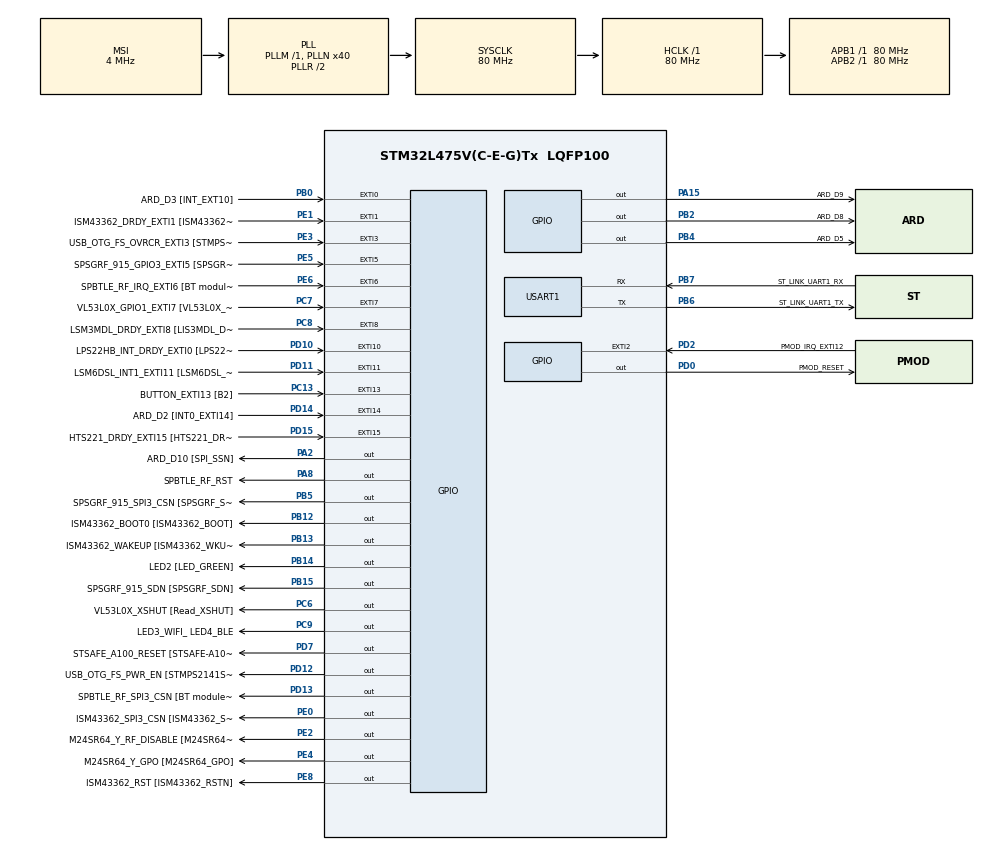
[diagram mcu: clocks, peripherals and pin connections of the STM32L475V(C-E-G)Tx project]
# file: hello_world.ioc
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Mcu.Family=STM32L4
Mcu.Name=STM32L475V(C-E-G)Tx
Mcu.Package=LQFP100
NVIC.EXTI15_10_IRQn=true\:0\:0\:false\:false\:true\:true\:true
NVIC.EXTI9_5_IRQn=true\:0\:0\:false\:false\:true\:true\:true
NVIC.PriorityGroup=NVIC_PRIORITYGROUP_4
PA0.GPIO_Label=ARD_D1 [UART4_TX]
PA0.Signal=UART4_TX
PA1.GPIO_Label=ARD_D0 [UART4_RX]
PA1.Signal=UART4_RX
PA10.GPIO_Label=USB_OTG_FS_ID
PA10.Signal=USB_OTG_FS_ID
PA11.GPIO_Label=USB_OTG_FS_DM
PA11.Signal=USB_OTG_FS_DM
PA12.GPIO_Label=USB_OTG_FS_DP
PA12.Signal=USB_OTG_FS_DP
PA13\ (JTMS-SWDIO).GPIO_Label=SYS_JTMS_SWDIO
PA13\ (JTMS-SWDIO).Signal=SYS_JTMS-SWDIO
PA14\ (JTCK-SWCLK).GPIO_Label=SYS_JTCK_SWCLK
PA14\ (JTCK-SWCLK).Signal=SYS_JTCK-SWCLK
PA15\ (JTDI).GPIO_Label=ARD_D9
PA15\ (JTDI).Signal=GPIO_Output
PA2.GPIO_Label=ARD_D10 [SPI_SSN]
PA2.Signal=GPIO_Output
PA3.GPIO_Label=ARD_D4
PA3.Signal=S_TIM2_CH4
PA4.GPIO_Label=ARD_D7
PA4.Signal=ADCx_IN9
PA5.GPIO_Label=ARD_D13 [SPI1_SCK]
PA5.Signal=SPI1_SCK
PA6.GPIO_Label=ARD_D12 [SPI1_MISO]
PA6.Signal=SPI1_MISO
PA7.GPIO_Label=ARD_D11 [SPI1_MOSI]
PA7.Signal=SPI1_MOSI
PA8.GPIO_Label=SPBTLE_RF_RST
PA8.Signal=GPIO_Output
PA9.GPIO_Label=USB_OTG_FS_VBUS [STMPS2141STR_OUT]
PA9.Signal=USB_OTG_FS_VBUS
PB0.GPIO_Label=ARD_D3 [INT_EXT10]
PB0.Signal=GPXTI0
PB1.GPIO_Label=ARD_D6 [ADC1_IN6]
PB1.Signal=ADCx_IN16
PB10.GPIO_Label=INTERNAL_I2C2_SCL [VL53L0X_SCL]
PB10.Signal=I2C2_SCL
PB11.GPIO_Label=INTERNAL_I2C2_SDA [VL53L0X_SDA]
PB11.Signal=I2C2_SDA
PB12.GPIO_Label=ISM43362_BOOT0 [ISM43362_BOOT]
PB12.Signal=GPIO_Output
PB13.GPIO_Label=ISM43362_WAKEUP [ISM43362_WKUP]
PB13.Signal=GPIO_Output
PB14.GPIO_Label=LED2 [LED_GREEN]
PB14.Signal=GPIO_Output
PB15.GPIO_Label=SPSGRF_915_SDN [SPSGRF_SDN]
PB15.Signal=GPIO_Output
PB2.GPIO_Label=ARD_D8
PB2.Signal=GPIO_Output
PB3\ (JTDO-TRACESWO).GPIO_Label=SYS_JTD0_SWO
PB3\ (JTDO-TRACESWO).Signal=SYS_JTDO-SWO
PB4\ (NJTRST).GPIO_Label=ARD_D5
PB4\ (NJTRST).Signal=GPIO_Output
PB5.GPIO_Label=SPSGRF_915_SPI3_CSN [SPSGRF_SPI_CS]
PB5.PinState=GPIO_PIN_SET
PB5.Signal=GPIO_Output
PB6.GPIO_Label=ST_LINK_UART1_TX
PB6.Mode=Asynchronous
PB6.Signal=USART1_TX
PB7.GPIO_Label=ST_LINK_UART1_RX
PB7.Mode=Asynchronous
PB7.Signal=USART1_RX
PB8.GPIO_Label=ARD_D15 [I2C1_SCL]
PB8.Signal=I2C1_SCL
PB9.GPIO_Label=ARD_D14 [I2C1_SDA]
PB9.Signal=I2C1_SDA
PC0.GPIO_Label=ARD_A5 [ADC]
PC0.Signal=ADCx_IN1
PC1.GPIO_Label=ARD_A4 [ADC]
PC1.Signal=ADCx_IN2
PC10.GPIO_Label=INTERNAL_SPI3_SCK [BT module_SPI_SCLK]
PC10.Signal=SPI3_SCK
PC11.GPIO_Label=INTERNAL_SPI3_MISO [BT module_SPI_MISO]
PC11.Signal=SPI3_MISO
PC12.GPIO_Label=INTERNAL_SPI3_MOSI [BT module_SPI_MOSI]
PC12.Signal=SPI3_MOSI
PC13.GPIO_Label=BUTTON_EXTI13 [B2]
PC13.GPIO_ModeDefaultEXTI=GPIO_MODE_IT_FALLING
PC13.Signal=GPXTI13
PC14-OSC32_IN\ (PC14).Signal=RCC_OSC32_IN
PC15-OSC32_OUT\ (PC15).Signal=RCC_OSC32_OUT
PC2.GPIO_Label=ARD_A3 [ADC]
PC2.Signal=ADCx_IN3
PC3.GPIO_Label=ARD_A2 [ADC]
PC3.Signal=ADCx_IN4
PC4.GPIO_Label=ARD_A1 [ADC]
PC4.Signal=ADCx_IN13
PC5.GPIO_Label=ARD_A0 [ADC]
PC5.Signal=ADCx_IN14
PC6.GPIO_Label=VL53L0X_XSHUT [Read_XSHUT]
PC6.Signal=GPIO_Output
PC7.GPIO_Label=VL53L0X_GPIO1_EXTI7 [VL53L0X_GPIO1]
PC7.Signal=GPXTI7
PC8.GPIO_Label=LSM3MDL_DRDY_EXTI8 [LIS3MDL_DRDY]
PC8.Signal=GPXTI8
PC9.GPIO_Label=LED3_WIFI_ LED4_BLE
PC9.Signal=GPIO_Output
PD0.GPIO_Label=PMOD_RESET
PD0.Signal=GPIO_Output
PD1.GPIO_Label=PMOD_SPI2_SCK
PD1.Signal=SPI2_SCK
PD10.GPIO_Label=LPS22HB_INT_DRDY_EXTI0 [LPS22HB_INT_DRDY] 
PD10.Signal=GPXTI10
PD11.GPIO_Label=LSM6DSL_INT1_EXTI11 [LSM6DSL_INT1]
PD11.Signal=GPXTI11
PD12.GPIO_Label=USB_OTG_FS_PWR_EN [STMPS2141STR_EN]
PD12.Signal=GPIO_Output
PD13.GPIO_Label=SPBTLE_RF_SPI3_CSN [BT module_SPI_CS]
PD13.PinState=GPIO_PIN_SET
PD13.Signal=GPIO_Output
PD14.GPIO_Label=ARD_D2 [INT0_EXTI14]
PD14.Signal=GPXTI14
PD15.GPIO_Label=HTS221_DRDY_EXTI15 [HTS221_DRDY]
PD15.Signal=GPXTI15
PD2.GPIO_Label=PMOD_IRQ_EXTI12
PD2.Signal=GPXTI2
PD3.GPIO_Label=PMOD_UART2_CTS
PD3.Signal=USART2_CTS
PD4.GPIO_Label=PMOD_UART2_RTS
PD4.Signal=USART2_RTS
PD5.GPIO_Label=PMOD_UART2_TX
PD5.Signal=USART2_TX
PD6.GPIO_Label=PMOD_UART2_RX
PD6.Signal=USART2_RX
PD7.GPIO_Label=STSAFE_A100_RESET [STSAFE-A100_RESET]
PD7.Signal=GPIO_Output
PD8.GPIO_Label=INTERNAL_UART3_TX [ISM43362_RX]
PD8.Signal=USART3_TX
PD9.GPIO_Label=INTERNAL_UART3_RX [ISM43362_TX]
PD9.Signal=USART3_RX
PE0.GPIO_Label=ISM43362_SPI3_CSN [ISM43362_SSN]
PE0.PinState=GPIO_PIN_SET
PE0.Signal=GPIO_Output
PE1.GPIO_Label=ISM43362_DRDY_EXTI1 [ISM43362_DATARDY]
PE1.Signal=GPXTI1
PE10.GPIO_Label=QUADSPI_CLK [MX25R6435F_SCLK]
PE10.Signal=QUADSPI_CLK
PE11.GPIO_Label=QUADSPI_NCS [MX25R6435F_SCLK]
PE11.Signal=QUADSPI_NCS
PE12.GPIO_Label=OQUADSPI_BK1_IO0 [MX25R6435F_IO0]
PE12.Signal=QUADSPI_BK1_IO0
PE13.GPIO_Label=QUADSPI_BK1_IO1 [MX25R6435F_IO1]
PE13.Signal=QUADSPI_BK1_IO1
PE14.GPIO_Label=QUAD_SPI_BK1_IO2 [MX25R6435F_IO2]
PE14.Signal=QUADSPI_BK1_IO2
PE15.GPIO_Label=QUAD_SPI_BK1_IO3 [MX25R6435F_IO3]
PE15.Signal=QUADSPI_BK1_IO3
PE2.GPIO_Label=M24SR64_Y_RF_DISABLE [M24SR64_RFDIS]
PE2.Signal=GPIO_Output
PE3.GPIO_Label=USB_OTG_FS_OVRCR_EXTI3 [STMPS2141STR_FAULT]
PE3.Signal=GPXTI3
PE4.GPIO_Label=M24SR64_Y_GPO [M24SR64_GPO]
PE4.Signal=GPIO_Output
PE5.GPIO_Label=SPSGRF_915_GPIO3_EXTI5 [SPSGRF_GPIO_3]
PE5.Signal=GPXTI5
PE6.GPIO_Label=SPBTLE_RF_IRQ_EXTI6 [BT module_SPI_IRQ]
PE6.Signal=GPXTI6
PE7.GPIO_Label=DFSDM1_DATIN2 [MP34DT01_DOUT]
PE7.Signal=S_DATAIN2DFSDM1
PE8.GPIO_Label=ISM43362_RST [ISM43362_RSTN]
PE8.Signal=GPIO_Output
PE9.GPIO_Label=DFSDM1_CKOUT [MP34DT01_CLK]
PE9.Signal=S_CKOUTDFSDM1
ProjectManager.HeapSize=0x200
ProjectManager.StackSize=0x400
ProjectManager.TargetToolchain=MDK-ARM V5
RCC.ADCFreq_Value=48000000
RCC.AHBFreq_Value=80000000
RCC.APB1Freq_Value=80000000
RCC.APB1TimFreq_Value=80000000
RCC.APB2Freq_Value=80000000
RCC.APB2TimFreq_Value=80000000
RCC.CortexFreq_Value=80000000
RCC.HCLKFreq_Value=80000000
RCC.HSE_VALUE=8000000
RCC.HSI_VALUE=16000000
RCC.LSE_VALUE=32768
RCC.MSI_VALUE=4000000
RCC.PLLN=40
RCC.PLLSAI1N=24
RCC.SYSCLKFreq_VALUE=80000000
RCC.SYSCLKSource=RCC_SYSCLKSOURCE_PLLCLK
RCC.USBFreq_Value=48000000
RCC.VCOOutputFreq_Value=160000000
SH.ADCx_IN1.0=ADC1_IN1
SH.ADCx_IN13.0=ADC1_IN13
SH.ADCx_IN14.0=ADC1_IN14
SH.ADCx_IN16.0=ADC1_IN16
SH.ADCx_IN2.0=ADC1_IN2
SH.ADCx_IN3.0=ADC1_IN3
SH.ADCx_IN4.0=ADC1_IN4
SH.ADCx_IN9.0=ADC1_IN9
SH.S_CKOUTDFSDM1.0=DFSDM1_CKOUT
SH.S_DATAIN2DFSDM1.0=DFSDM1_DATIN2
SH.S_TIM2_CH4.0=TIM2_CH4
USART1.VirtualMode-Asynchronous=VM_ASYNC
board=B-L475E-IOT01A

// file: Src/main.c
/* USER CODE BEGIN Header */
/**
  ******************************************************************************
  * @file           : main.c
  * @brief          : Main program body
  ******************************************************************************
  * @attention
  *
  * <h2><center>&copy; Copyright (c) 2019 STMicroelectronics.
  * All rights reserved.</center></h2>
  *
  * This software component is licensed by ST under BSD 3-Clause license,
  * the "License"; You may not use this file except in compliance with the
  * License. You may obtain a copy of the License at:
  *                        opensource.org/licenses/BSD-3-Clause
  *
  ******************************************************************************
  */
/* USER CODE END Header */

#include "main.h"

/* USER CODE BEGIN Includes */

#include <stdio.h>
#include <stdlib.h>
#include "fann.h"
#include "fann_conf.h"
#include "test_data.h"

/* USER CODE END Includes */

UART_HandleTypeDef huart1;

void SystemClock_Config(void);
static void MX_GPIO_Init(void);
static void MX_USART1_UART_Init(void);

/* USER CODE BEGIN 0 */
/* Buffer used for transmission */
#define RXBUFFERSIZE 300
#define TXBUFFERSIZE 300
char aTxBuffer[TXBUFFERSIZE];
/* Buffer used for reception */
uint8_t aRxBuffer[RXBUFFERSIZE];

/* USER CODE END 0 */

int main(void)
{
  /* USER CODE BEGIN 1 */

//	printf("Hello World\n");

  /* USER CODE END 1 */

  /* MCU Configuration--------------------------------------------------------*/

  /* Reset of all peripherals, Initializes the Flash interface and the Systick. */
  HAL_Init();

  /* Configure the system clock */
  SystemClock_Config();

  /* Initialize all configured peripherals */
  MX_GPIO_Init();
  MX_USART1_UART_Init();

  /* Infinite loop */
  /* USER CODE BEGIN WHILE */
  while (1) {
    fann_type *calc_out;

    int corr = 0, i;
    for(i = 0; i < NUM_TESTS; ++i) {
				//enable cycle counter
				volatile uint32_t *DWT_CONTROL = (uint32_t *) 0xE0001000;
				volatile uint32_t *DWT_CYCCNT = (uint32_t *) 0xE0001004;
				volatile uint32_t *DEMCR = (uint32_t *) 0xE000EDFC;
				volatile uint32_t *LAR  = (uint32_t *) 0xE0001FB0;   // <-- added lock access register
				*DEMCR = *DEMCR | 0x01000000;     // enable trace
				*LAR = 0xC5ACCE55;                // <-- added unlock access to DWT (ITM, etc.)registers
				*DWT_CYCCNT = 0;                  // clear DWT cycle counter
				*DWT_CONTROL = *DWT_CONTROL | 1;  // enable DWT cycle counter

				//run NN
        calc_out = fann_run(test_data_input + NUM_INPUT * i);

				// read cycle counter & print
				uint32_t cycles = *DWT_CYCCNT;
				snprintf(aTxBuffer, TXBUFFERSIZE, "cycles for classification: %d\r\n", cycles);
				if(HAL_UART_Transmit(&huart1, (uint8_t *)aTxBuffer, TXBUFFERSIZE, 5000)!= HAL_OK) { Error_Handler(); }

/*
#ifdef FIXEDFANN
				snprintf(aTxBuffer, TXBUFFERSIZE, "out class 0: %d, out class 1: %d\r\n", calc_out[0], calc_out[1]);
#else
				snprintf(aTxBuffer, TXBUFFERSIZE, "out class 0: %f, out class 1: %f\r\n", calc_out[0], calc_out[1]);
#endif
				if(HAL_UART_Transmit(&huart1, (uint8_t *)aTxBuffer, TXBUFFERSIZE, 5000)!= HAL_OK) { Error_Handler(); }
*/

        int cla = 0;
        if (calc_out[0] >= calc_out[1]) {
            cla = 0;
        } else {
            cla = 1;
        }

        if (cla == test_data_output[i]) {
            ++corr;
        }
/*
				snprintf(aTxBuffer, TXBUFFERSIZE, "class out: %d, class exp: %d\r\n",
								 cla, test_data_output[i]);
				if(HAL_UART_Transmit(&huart1, (uint8_t *)aTxBuffer, TXBUFFERSIZE, 5000)!= HAL_OK) { Error_Handler(); }
*/
    }

		snprintf(aTxBuffer, TXBUFFERSIZE, "correct %d out of %d\r\n", corr, NUM_TESTS);
		if(HAL_UART_Transmit(&huart1, (uint8_t *)aTxBuffer, TXBUFFERSIZE, 5000)!= HAL_OK) { Error_Handler(); }

		HAL_Delay(1000);
    /* USER CODE END WHILE */

  }
}

void SystemClock_Config(void)
{
  RCC_OscInitTypeDef RCC_OscInitStruct = {0};
  RCC_ClkInitTypeDef RCC_ClkInitStruct = {0};
  RCC_PeriphCLKInitTypeDef PeriphClkInit = {0};

  /** Initializes the CPU, AHB and APB busses clocks
  */
  RCC_OscInitStruct.OscillatorType = RCC_OSCILLATORTYPE_MSI;
  RCC_OscInitStruct.MSIState = RCC_MSI_ON;
  RCC_OscInitStruct.MSICalibrationValue = 0;
  RCC_OscInitStruct.MSIClockRange = RCC_MSIRANGE_6;
  RCC_OscInitStruct.PLL.PLLState = RCC_PLL_ON;
  RCC_OscInitStruct.PLL.PLLSource = RCC_PLLSOURCE_MSI;
  RCC_OscInitStruct.PLL.PLLM = 1;
  RCC_OscInitStruct.PLL.PLLN = 40;
  RCC_OscInitStruct.PLL.PLLP = RCC_PLLP_DIV7;
  RCC_OscInitStruct.PLL.PLLQ = RCC_PLLQ_DIV2;
  RCC_OscInitStruct.PLL.PLLR = RCC_PLLR_DIV2;
  if (HAL_RCC_OscConfig(&RCC_OscInitStruct) != HAL_OK)
  {
    Error_Handler();
  }
  /** Initializes the CPU, AHB and APB busses clocks
  */
  RCC_ClkInitStruct.ClockType = RCC_CLOCKTYPE_HCLK|RCC_CLOCKTYPE_SYSCLK
                              |RCC_CLOCKTYPE_PCLK1|RCC_CLOCKTYPE_PCLK2;
  RCC_ClkInitStruct.SYSCLKSource = RCC_SYSCLKSOURCE_PLLCLK;
  RCC_ClkInitStruct.AHBCLKDivider = RCC_SYSCLK_DIV1;
  RCC_ClkInitStruct.APB1CLKDivider = RCC_HCLK_DIV1;
  RCC_ClkInitStruct.APB2CLKDivider = RCC_HCLK_DIV1;

  if (HAL_RCC_ClockConfig(&RCC_ClkInitStruct, FLASH_LATENCY_4) != HAL_OK)
  {
    Error_Handler();
  }
  PeriphClkInit.PeriphClockSelection = RCC_PERIPHCLK_USART1;
  PeriphClkInit.Usart1ClockSelection = RCC_USART1CLKSOURCE_PCLK2;
  if (HAL_RCCEx_PeriphCLKConfig(&PeriphClkInit) != HAL_OK)
  {
    Error_Handler();
  }
  /** Configure the main internal regulator output voltage
  */
  if (HAL_PWREx_ControlVoltageScaling(PWR_REGULATOR_VOLTAGE_SCALE1) != HAL_OK)
  {
    Error_Handler();
  }
}

static void MX_USART1_UART_Init(void)
{

  huart1.Instance = USART1;
  huart1.Init.BaudRate = 115200;
  huart1.Init.WordLength = UART_WORDLENGTH_8B;
  huart1.Init.StopBits = UART_STOPBITS_1;
  huart1.Init.Parity = UART_PARITY_NONE;
  huart1.Init.Mode = UART_MODE_TX_RX;
  huart1.Init.HwFlowCtl = UART_HWCONTROL_NONE;
  huart1.Init.OverSampling = UART_OVERSAMPLING_16;
  huart1.Init.OneBitSampling = UART_ONE_BIT_SAMPLE_DISABLE;
  huart1.AdvancedInit.AdvFeatureInit = UART_ADVFEATURE_NO_INIT;
  if (HAL_UART_Init(&huart1) != HAL_OK)
  {
    Error_Handler();
  }

}

static void MX_GPIO_Init(void)
{
  GPIO_InitTypeDef GPIO_InitStruct = {0};

  /* GPIO Ports Clock Enable */
  __HAL_RCC_GPIOE_CLK_ENABLE();
  __HAL_RCC_GPIOC_CLK_ENABLE();
  __HAL_RCC_GPIOA_CLK_ENABLE();
  __HAL_RCC_GPIOB_CLK_ENABLE();
  __HAL_RCC_GPIOD_CLK_ENABLE();

  /*Configure GPIO pin Output Level */
  HAL_GPIO_WritePin(GPIOE, M24SR64_Y_RF_DISABLE_Pin|M24SR64_Y_GPO_Pin|ISM43362_RST_Pin, GPIO_PIN_RESET);

  /*Configure GPIO pin Output Level */
  HAL_GPIO_WritePin(GPIOA, ARD_D10_Pin|SPBTLE_RF_RST_Pin|ARD_D9_Pin, GPIO_PIN_RESET);

  /*Configure GPIO pin Output Level */
  HAL_GPIO_WritePin(GPIOB, ARD_D8_Pin|ISM43362_BOOT0_Pin|ISM43362_WAKEUP_Pin|LED2_Pin
                          |SPSGRF_915_SDN_Pin|ARD_D5_Pin, GPIO_PIN_RESET);

  /*Configure GPIO pin Output Level */
  HAL_GPIO_WritePin(GPIOD, USB_OTG_FS_PWR_EN_Pin|PMOD_RESET_Pin|STSAFE_A100_RESET_Pin, GPIO_PIN_RESET);

  /*Configure GPIO pin Output Level */
  HAL_GPIO_WritePin(SPBTLE_RF_SPI3_CSN_GPIO_Port, SPBTLE_RF_SPI3_CSN_Pin, GPIO_PIN_SET);

  /*Configure GPIO pin Output Level */
  HAL_GPIO_WritePin(GPIOC, VL53L0X_XSHUT_Pin|LED3_WIFI__LED4_BLE_Pin, GPIO_PIN_RESET);

  /*Configure GPIO pin Output Level */
  HAL_GPIO_WritePin(SPSGRF_915_SPI3_CSN_GPIO_Port, SPSGRF_915_SPI3_CSN_Pin, GPIO_PIN_SET);

  /*Configure GPIO pin Output Level */
  HAL_GPIO_WritePin(ISM43362_SPI3_CSN_GPIO_Port, ISM43362_SPI3_CSN_Pin, GPIO_PIN_SET);

  /*Configure GPIO pins : M24SR64_Y_RF_DISABLE_Pin M24SR64_Y_GPO_Pin ISM43362_RST_Pin ISM43362_SPI3_CSN_Pin */
  GPIO_InitStruct.Pin = M24SR64_Y_RF_DISABLE_Pin|M24SR64_Y_GPO_Pin|ISM43362_RST_Pin|ISM43362_SPI3_CSN_Pin;
  GPIO_InitStruct.Mode = GPIO_MODE_OUTPUT_PP;
  GPIO_InitStruct.Pull = GPIO_NOPULL;
  GPIO_InitStruct.Speed = GPIO_SPEED_FREQ_LOW;
  HAL_GPIO_Init(GPIOE, &GPIO_InitStruct);

  /*Configure GPIO pins : USB_OTG_FS_OVRCR_EXTI3_Pin SPSGRF_915_GPIO3_EXTI5_Pin SPBTLE_RF_IRQ_EXTI6_Pin ISM43362_DRDY_EXTI1_Pin */
  GPIO_InitStruct.Pin = USB_OTG_FS_OVRCR_EXTI3_Pin|SPSGRF_915_GPIO3_EXTI5_Pin|SPBTLE_RF_IRQ_EXTI6_Pin|ISM43362_DRDY_EXTI1_Pin;
  GPIO_InitStruct.Mode = GPIO_MODE_IT_RISING;
  GPIO_InitStruct.Pull = GPIO_NOPULL;
  HAL_GPIO_Init(GPIOE, &GPIO_InitStruct);

  /*Configure GPIO pin : BUTTON_EXTI13_Pin */
  GPIO_InitStruct.Pin = BUTTON_EXTI13_Pin;
  GPIO_InitStruct.Mode = GPIO_MODE_IT_FALLING;
  GPIO_InitStruct.Pull = GPIO_NOPULL;
  HAL_GPIO_Init(BUTTON_EXTI13_GPIO_Port, &GPIO_InitStruct);

  /*Configure GPIO pins : ARD_A5_Pin ARD_A4_Pin ARD_A3_Pin ARD_A2_Pin
                           ARD_A1_Pin ARD_A0_Pin */
  GPIO_InitStruct.Pin = ARD_A5_Pin|ARD_A4_Pin|ARD_A3_Pin|ARD_A2_Pin
                          |ARD_A1_Pin|ARD_A0_Pin;
  GPIO_InitStruct.Mode = GPIO_MODE_ANALOG_ADC_CONTROL;
  GPIO_InitStruct.Pull = GPIO_NOPULL;
  HAL_GPIO_Init(GPIOC, &GPIO_InitStruct);

  /*Configure GPIO pins : ARD_D1_Pin ARD_D0_Pin */
  GPIO_InitStruct.Pin = ARD_D1_Pin|ARD_D0_Pin;
  GPIO_InitStruct.Mode = GPIO_MODE_AF_PP;
  GPIO_InitStruct.Pull = GPIO_NOPULL;
  GPIO_InitStruct.Speed = GPIO_SPEED_FREQ_VERY_HIGH;
  GPIO_InitStruct.Alternate = GPIO_AF8_UART4;
  HAL_GPIO_Init(GPIOA, &GPIO_InitStruct);

  /*Configure GPIO pins : ARD_D10_Pin SPBTLE_RF_RST_Pin ARD_D9_Pin */
  GPIO_InitStruct.Pin = ARD_D10_Pin|SPBTLE_RF_RST_Pin|ARD_D9_Pin;
  GPIO_InitStruct.Mode = GPIO_MODE_OUTPUT_PP;
  GPIO_InitStruct.Pull = GPIO_NOPULL;
  GPIO_InitStruct.Speed = GPIO_SPEED_FREQ_LOW;
  HAL_GPIO_Init(GPIOA, &GPIO_InitStruct);

  /*Configure GPIO pin : ARD_D4_Pin */
  GPIO_InitStruct.Pin = ARD_D4_Pin;
  GPIO_InitStruct.Mode = GPIO_MODE_AF_PP;
  GPIO_InitStruct.Pull = GPIO_NOPULL;
  GPIO_InitStruct.Speed = GPIO_SPEED_FREQ_LOW;
  GPIO_InitStruct.Alternate = GPIO_AF1_TIM2;
  HAL_GPIO_Init(ARD_D4_GPIO_Port, &GPIO_InitStruct);

  /*Configure GPIO pin : ARD_D7_Pin */
  GPIO_InitStruct.Pin = ARD_D7_Pin;
  GPIO_InitStruct.Mode = GPIO_MODE_ANALOG_ADC_CONTROL;
  GPIO_InitStruct.Pull = GPIO_NOPULL;
  HAL_GPIO_Init(ARD_D7_GPIO_Port, &GPIO_InitStruct);

  /*Configure GPIO pins : ARD_D13_Pin ARD_D12_Pin ARD_D11_Pin */
  GPIO_InitStruct.Pin = ARD_D13_Pin|ARD_D12_Pin|ARD_D11_Pin;
  GPIO_InitStruct.Mode = GPIO_MODE_AF_PP;
  GPIO_InitStruct.Pull = GPIO_NOPULL;
  GPIO_InitStruct.Speed = GPIO_SPEED_FREQ_VERY_HIGH;
  GPIO_InitStruct.Alternate = GPIO_AF5_SPI1;
  HAL_GPIO_Init(GPIOA, &GPIO_InitStruct);

  /*Configure GPIO pin : ARD_D3_Pin */
  GPIO_InitStruct.Pin = ARD_D3_Pin;
  GPIO_InitStruct.Mode = GPIO_MODE_IT_RISING;
  GPIO_InitStruct.Pull = GPIO_NOPULL;
  HAL_GPIO_Init(ARD_D3_GPIO_Port, &GPIO_InitStruct);

  /*Configure GPIO pin : ARD_D6_Pin */
  GPIO_InitStruct.Pin = ARD_D6_Pin;
  GPIO_InitStruct.Mode = GPIO_MODE_ANALOG_ADC_CONTROL;
  GPIO_InitStruct.Pull = GPIO_NOPULL;
  HAL_GPIO_Init(ARD_D6_GPIO_Port, &GPIO_InitStruct);

  /*Configure GPIO pins : ARD_D8_Pin ISM43362_BOOT0_Pin ISM43362_WAKEUP_Pin LED2_Pin
                           SPSGRF_915_SDN_Pin ARD_D5_Pin SPSGRF_915_SPI3_CSN_Pin */
  GPIO_InitStruct.Pin = ARD_D8_Pin|ISM43362_BOOT0_Pin|ISM43362_WAKEUP_Pin|LED2_Pin
                          |SPSGRF_915_SDN_Pin|ARD_D5_Pin|SPSGRF_915_SPI3_CSN_Pin;
  GPIO_InitStruct.Mode = GPIO_MODE_OUTPUT_PP;
  GPIO_InitStruct.Pull = GPIO_NOPULL;
  GPIO_InitStruct.Speed = GPIO_SPEED_FREQ_LOW;
  HAL_GPIO_Init(GPIOB, &GPIO_InitStruct);

  /*Configure GPIO pins : DFSDM1_DATIN2_Pin DFSDM1_CKOUT_Pin */
  GPIO_InitStruct.Pin = DFSDM1_DATIN2_Pin|DFSDM1_CKOUT_Pin;
  GPIO_InitStruct.Mode = GPIO_MODE_AF_PP;
  GPIO_InitStruct.Pull = GPIO_NOPULL;
  GPIO_InitStruct.Speed = GPIO_SPEED_FREQ_LOW;
  GPIO_InitStruct.Alternate = GPIO_AF6_DFSDM1;
  HAL_GPIO_Init(GPIOE, &GPIO_InitStruct);

  /*Configure GPIO pins : QUADSPI_CLK_Pin QUADSPI_NCS_Pin OQUADSPI_BK1_IO0_Pin QUADSPI_BK1_IO1_Pin
                           QUAD_SPI_BK1_IO2_Pin QUAD_SPI_BK1_IO3_Pin */
  GPIO_InitStruct.Pin = QUADSPI_CLK_Pin|QUADSPI_NCS_Pin|OQUADSPI_BK1_IO0_Pin|QUADSPI_BK1_IO1_Pin
                          |QUAD_SPI_BK1_IO2_Pin|QUAD_SPI_BK1_IO3_Pin;
  GPIO_InitStruct.Mode = GPIO_MODE_AF_PP;
  GPIO_InitStruct.Pull = GPIO_NOPULL;
  GPIO_InitStruct.Speed = GPIO_SPEED_FREQ_VERY_HIGH;
  GPIO_InitStruct.Alternate = GPIO_AF10_QUADSPI;
  HAL_GPIO_Init(GPIOE, &GPIO_InitStruct);

  /*Configure GPIO pins : INTERNAL_I2C2_SCL_Pin INTERNAL_I2C2_SDA_Pin */
  GPIO_InitStruct.Pin = INTERNAL_I2C2_SCL_Pin|INTERNAL_I2C2_SDA_Pin;
  GPIO_InitStruct.Mode = GPIO_MODE_AF_OD;
  GPIO_InitStruct.Pull = GPIO_PULLUP;
  GPIO_InitStruct.Speed = GPIO_SPEED_FREQ_VERY_HIGH;
  GPIO_InitStruct.Alternate = GPIO_AF4_I2C2;
  HAL_GPIO_Init(GPIOB, &GPIO_InitStruct);

  /*Configure GPIO pins : INTERNAL_UART3_TX_Pin INTERNAL_UART3_RX_Pin */
  GPIO_InitStruct.Pin = INTERNAL_UART3_TX_Pin|INTERNAL_UART3_RX_Pin;
  GPIO_InitStruct.Mode = GPIO_MODE_AF_PP;
  GPIO_InitStruct.Pull = GPIO_NOPULL;
  GPIO_InitStruct.Speed = GPIO_SPEED_FREQ_VERY_HIGH;
  GPIO_InitStruct.Alternate = GPIO_AF7_USART3;
  HAL_GPIO_Init(GPIOD, &GPIO_InitStruct);

  /*Configure GPIO pins : LPS22HB_INT_DRDY_EXTI0_Pin LSM6DSL_INT1_EXTI11_Pin ARD_D2_Pin HTS221_DRDY_EXTI15_Pin
                           PMOD_IRQ_EXTI12_Pin */
  GPIO_InitStruct.Pin = LPS22HB_INT_DRDY_EXTI0_Pin|LSM6DSL_INT1_EXTI11_Pin|ARD_D2_Pin|HTS221_DRDY_EXTI15_Pin
                          |PMOD_IRQ_EXTI12_Pin;
  GPIO_InitStruct.Mode = GPIO_MODE_IT_RISING;
  GPIO_InitStruct.Pull = GPIO_NOPULL;
  HAL_GPIO_Init(GPIOD, &GPIO_InitStruct);

  /*Configure GPIO pins : USB_OTG_FS_PWR_EN_Pin SPBTLE_RF_SPI3_CSN_Pin PMOD_RESET_Pin STSAFE_A100_RESET_Pin */
  GPIO_InitStruct.Pin = USB_OTG_FS_PWR_EN_Pin|SPBTLE_RF_SPI3_CSN_Pin|PMOD_RESET_Pin|STSAFE_A100_RESET_Pin;
  GPIO_InitStruct.Mode = GPIO_MODE_OUTPUT_PP;
  GPIO_InitStruct.Pull = GPIO_NOPULL;
  GPIO_InitStruct.Speed = GPIO_SPEED_FREQ_LOW;
  HAL_GPIO_Init(GPIOD, &GPIO_InitStruct);

  /*Configure GPIO pins : VL53L0X_XSHUT_Pin LED3_WIFI__LED4_BLE_Pin */
  GPIO_InitStruct.Pin = VL53L0X_XSHUT_Pin|LED3_WIFI__LED4_BLE_Pin;
  GPIO_InitStruct.Mode = GPIO_MODE_OUTPUT_PP;
  GPIO_InitStruct.Pull = GPIO_NOPULL;
  GPIO_InitStruct.Speed = GPIO_SPEED_FREQ_LOW;
  HAL_GPIO_Init(GPIOC, &GPIO_InitStruct);

  /*Configure GPIO pins : VL53L0X_GPIO1_EXTI7_Pin LSM3MDL_DRDY_EXTI8_Pin */
  GPIO_InitStruct.Pin = VL53L0X_GPIO1_EXTI7_Pin|LSM3MDL_DRDY_EXTI8_Pin;
  GPIO_InitStruct.Mode = GPIO_MODE_IT_RISING;
  GPIO_InitStruct.Pull = GPIO_NOPULL;
  HAL_GPIO_Init(GPIOC, &GPIO_InitStruct);

  /*Configure GPIO pin : USB_OTG_FS_VBUS_Pin */
  GPIO_InitStruct.Pin = USB_OTG_FS_VBUS_Pin;
  GPIO_InitStruct.Mode = GPIO_MODE_INPUT;
  GPIO_InitStruct.Pull = GPIO_NOPULL;
  HAL_GPIO_Init(USB_OTG_FS_VBUS_GPIO_Port, &GPIO_InitStruct);

  /*Configure GPIO pins : USB_OTG_FS_ID_Pin USB_OTG_FS_DM_Pin USB_OTG_FS_DP_Pin */
  GPIO_InitStruct.Pin = USB_OTG_FS_ID_Pin|USB_OTG_FS_DM_Pin|USB_OTG_FS_DP_Pin;
  GPIO_InitStruct.Mode = GPIO_MODE_AF_PP;
  GPIO_InitStruct.Pull = GPIO_NOPULL;
  GPIO_InitStruct.Speed = GPIO_SPEED_FREQ_VERY_HIGH;
  GPIO_InitStruct.Alternate = GPIO_AF10_OTG_FS;
  HAL_GPIO_Init(GPIOA, &GPIO_InitStruct);

  /*Configure GPIO pins : INTERNAL_SPI3_SCK_Pin INTERNAL_SPI3_MISO_Pin INTERNAL_SPI3_MOSI_Pin */
  GPIO_InitStruct.Pin = INTERNAL_SPI3_SCK_Pin|INTERNAL_SPI3_MISO_Pin|INTERNAL_SPI3_MOSI_Pin;
  GPIO_InitStruct.Mode = GPIO_MODE_AF_PP;
  GPIO_InitStruct.Pull = GPIO_NOPULL;
  GPIO_InitStruct.Speed = GPIO_SPEED_FREQ_VERY_HIGH;
  GPIO_InitStruct.Alternate = GPIO_AF6_SPI3;
  HAL_GPIO_Init(GPIOC, &GPIO_InitStruct);

  /*Configure GPIO pin : PMOD_SPI2_SCK_Pin */
  GPIO_InitStruct.Pin = PMOD_SPI2_SCK_Pin;
  GPIO_InitStruct.Mode = GPIO_MODE_AF_PP;
  GPIO_InitStruct.Pull = GPIO_NOPULL;
  GPIO_InitStruct.Speed = GPIO_SPEED_FREQ_VERY_HIGH;
  GPIO_InitStruct.Alternate = GPIO_AF5_SPI2;
  HAL_GPIO_Init(PMOD_SPI2_SCK_GPIO_Port, &GPIO_InitStruct);

  /*Configure GPIO pins : PMOD_UART2_CTS_Pin PMOD_UART2_RTS_Pin PMOD_UART2_TX_Pin PMOD_UART2_RX_Pin */
  GPIO_InitStruct.Pin = PMOD_UART2_CTS_Pin|PMOD_UART2_RTS_Pin|PMOD_UART2_TX_Pin|PMOD_UART2_RX_Pin;
  GPIO_InitStruct.Mode = GPIO_MODE_AF_PP;
  GPIO_InitStruct.Pull = GPIO_NOPULL;
  GPIO_InitStruct.Speed = GPIO_SPEED_FREQ_VERY_HIGH;
  GPIO_InitStruct.Alternate = GPIO_AF7_USART2;
  HAL_GPIO_Init(GPIOD, &GPIO_InitStruct);

  /*Configure GPIO pins : ARD_D15_Pin ARD_D14_Pin */
  GPIO_InitStruct.Pin = ARD_D15_Pin|ARD_D14_Pin;
  GPIO_InitStruct.Mode = GPIO_MODE_AF_OD;
  GPIO_InitStruct.Pull = GPIO_PULLUP;
  GPIO_InitStruct.Speed = GPIO_SPEED_FREQ_VERY_HIGH;
  GPIO_InitStruct.Alternate = GPIO_AF4_I2C1;
  HAL_GPIO_Init(GPIOB, &GPIO_InitStruct);

  /* EXTI interrupt init*/
  HAL_NVIC_SetPriority(EXTI9_5_IRQn, 0, 0);
  HAL_NVIC_EnableIRQ(EXTI9_5_IRQn);

  HAL_NVIC_SetPriority(EXTI15_10_IRQn, 0, 0);
  HAL_NVIC_EnableIRQ(EXTI15_10_IRQn);

}

void Error_Handler(void)
{
}

/************************ (C) COPYRIGHT STMicroelectronics *****END OF FILE****/
